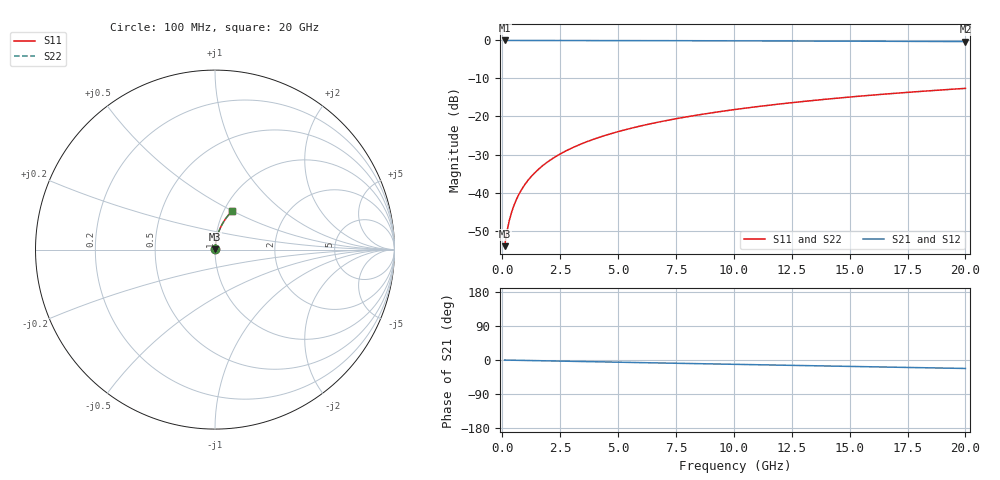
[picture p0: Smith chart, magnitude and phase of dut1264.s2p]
! Touchstone file exported from HFSS 2026.1.0
!  File:  C:/ffzhzh/LocalFiles/Ansys_Project_Files/temp_train_TMRDL_1264_1783164049_22436.aedt
!  Generated:  07:22:02 PM Jul  4, 2026
!  Design:  TMRDL
!  Project:  temp_train_TMRDL_1264_1783164049_22436
! Variables:
!  h_bsmrdl = 2um
!  h_ox = 20um
!  h_rdl = 5um
!  h_sub = 80um
!  h_tmrdl = 5.07um
!  h_tsv = 80um
!  h_via = 3um
!  l_bsmrdl = 300um
!  l_sub = 691.94um
!  l_tmrdl = 291.94um
!  m_sub = 200um
!  pitch = 42.65um
!  r_tsv = 6um
!  s_tmrdl = 10um
!  w_bsmrdl = 18um
!  w_sub = 500um
!  w_tmrdl = 15.58um
!  x_tsv_center1 = 299.73um
!  x_tsv_center2 = 617.73um
!  x_tsv_center3 = 925.25um
!  x_tsv_center4 = 1243.25um
!  x_tsv_center5 = 1550.77um
!  x_tsv_center6 = 1868.77um
# GHz S MA R 50.000000
! Terminal data exported
! Port[1] = TM_RDL1_1_T1
! Port[2] = TM_RDL1_1_T2
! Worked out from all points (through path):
!   200 points, 100 MHz to 20 GHz, reference 50 ohm
!   highest |S21| = -0.01 dB at 100 MHz (marker M1); lowest = -0.3 dB at 20 GHz (marker M2)
!   group delay of S21, straight-line fit = 3.1 ps
!   lowest |S11| = -54.1 dB at 100 MHz (marker M3), VSWR 1.00, Z = 50.1 + j0.137 ohm
!   |S11| at or under -10 dB: start of sweep to end of sweep
!   |S22| runs from -54.1 to -12.6 dB; largest |S21 - S12| = 2.7e-15
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0.1  0.001974 43.6  0.9986 -0.1  0.9986 -0.1  0.001974 43.6
! Gamma 0 0 0 0
! Port Impedance 50 0 50 0
0.2  0.003069 60.9  0.9985 -0.2  0.9985 -0.2  0.003069 60.9
0.3  0.004264 68.7  0.9985 -0.4  0.9985 -0.4  0.004264 68.7
0.4  0.005492 73.0  0.9984 -0.5  0.9984 -0.5  0.005492 73.0
0.5  0.006737 75.8  0.9984 -0.6  0.9984 -0.6  0.006737 75.8
0.6  0.007994 77.7  0.9983 -0.7  0.9983 -0.7  0.007994 77.7
0.8  0.01053 80.0  0.9983 -0.9  0.9983 -0.9  0.01053 80.0
1.1  0.01435 81.8  0.9981 -1.3  0.9981 -1.3  0.01435 81.8
1.5  0.01946 82.9  0.9979 -1.8  0.9979 -1.8  0.01946 82.9
1.8  0.02328 83.2  0.9978 -2.1  0.9978 -2.1  0.02328 83.2
2.1  0.0271 83.3  0.9976 -2.5  0.9976 -2.5  0.0271 83.2
2.7  0.03468 83.1  0.9971 -3.2  0.9971 -3.2  0.03468 83.1
3.5  0.0447 82.6  0.9964 -4.1  0.9964 -4.1  0.0447 82.6
4.2  0.05338 82.0  0.9957 -4.9  0.9957 -4.9  0.05338 82.0
5  0.06321 81.3  0.9948 -5.8  0.9948 -5.8  0.06321 81.3
5.9  0.07417 80.4  0.9937 -6.8  0.9937 -6.8  0.07417 80.4
6.8  0.08503 79.5  0.9925 -7.8  0.9925 -7.8  0.08503 79.5
8.3  0.1029 78.0  0.9903 -9.5  0.9903 -9.5  0.1029 78.0
10.1  0.1241 76.2  0.9874 -11.5  0.9874 -11.5  0.1241 76.2
13.4  0.1621 72.8  0.9811 -15.2  0.9811 -15.2  0.1621 72.8
16.7  0.1989 69.4  0.9738 -18.8  0.9738 -18.8  0.1989 69.4
20  0.2342 66.0  0.9655 -22.3  0.9655 -22.3  0.2342 66.0
